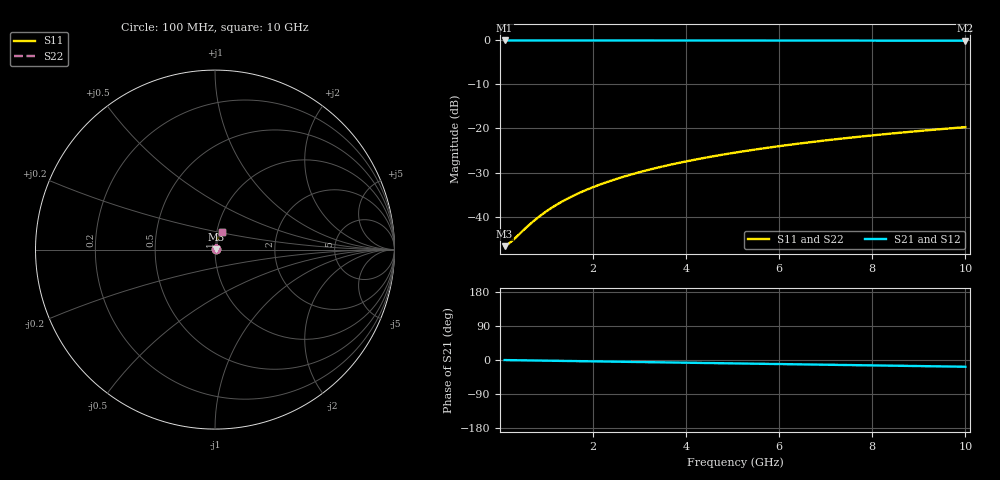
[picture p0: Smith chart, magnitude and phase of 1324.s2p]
# Hz S RI R 50.00
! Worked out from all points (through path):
!   100 points, 100 MHz to 10 GHz, reference 50 ohm
!   highest |S21| = -0.04 dB at 100 MHz (marker M1); lowest = -0.1 dB at 10 GHz (marker M2)
!   group delay of S21, straight-line fit = 4.94 ps
!   lowest |S11| = -46.7 dB at 100 MHz (marker M3), VSWR 1.01, Z = 50.5 + j0.105 ohm
!   |S11| at or under -10 dB: start of sweep to end of sweep
!   |S22| runs from -46.7 to -19.7 dB; largest |S21 - S12| = 0
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1e8  0.00451 0.00104  0.9955 -0.0031  0.9955 -0.0031  0.00451 0.00104
2e8  0.00455 0.00208  0.9954 -0.00619  0.9954 -0.00619  0.00455 0.00208
3e8  0.00459 0.00312  0.9954 -0.00929  0.9954 -0.00929  0.00459 0.00312
6e8  0.00472 0.00624  0.9952 -0.0186  0.9952 -0.0186  0.00472 0.00624
7e8  0.00477 0.00728  0.9951 -0.0217  0.9951 -0.0217  0.00477 0.00728
8e8  0.00483 0.00832  0.995 -0.0248  0.995 -0.0248  0.00483 0.00832
1e9  0.00497 0.0104  0.9948 -0.031  0.9948 -0.031  0.00497 0.0104
1.2e9  0.00513 0.0125  0.9945 -0.0371  0.9945 -0.0371  0.00513 0.0125
1.4e9  0.00531 0.0145  0.9942 -0.0433  0.9942 -0.0433  0.00531 0.0145
1.6e9  0.00552 0.0166  0.9939 -0.0495  0.9939 -0.0495  0.00552 0.0166
1.8e9  0.00575 0.0187  0.9935 -0.0557  0.9935 -0.0557  0.00575 0.0187
2.1e9  0.00614 0.0218  0.9929 -0.0649  0.9929 -0.0649  0.00614 0.0218
2.5e9  0.00676 0.0259  0.9919 -0.0773  0.9919 -0.0773  0.00676 0.0259
2.9e9  0.00747 0.03  0.9907 -0.0896  0.9907 -0.0896  0.00747 0.03
3.4e9  0.00851 0.0351  0.989 -0.105  0.989 -0.105  0.00851 0.0351
4.2e9  0.0105 0.0432  0.9857 -0.1295  0.9857 -0.1295  0.0105 0.0432
5.1e9  0.0132 0.0521  0.9812 -0.1569  0.9812 -0.1569  0.0132 0.0521
5.9e9  0.016 0.0599  0.9765 -0.1811  0.9765 -0.1811  0.016 0.0599
6.7e9  0.0192 0.0675  0.9711 -0.2052  0.9711 -0.2052  0.0192 0.0675
7.5e9  0.0228 0.075  0.9651 -0.229  0.9651 -0.229  0.0228 0.075
8.4e9  0.0272 0.0832  0.9576 -0.2556  0.9576 -0.2556  0.0272 0.0832
1e10  0.0362 0.097  0.9423 -0.3021  0.9423 -0.3021  0.0362 0.097
